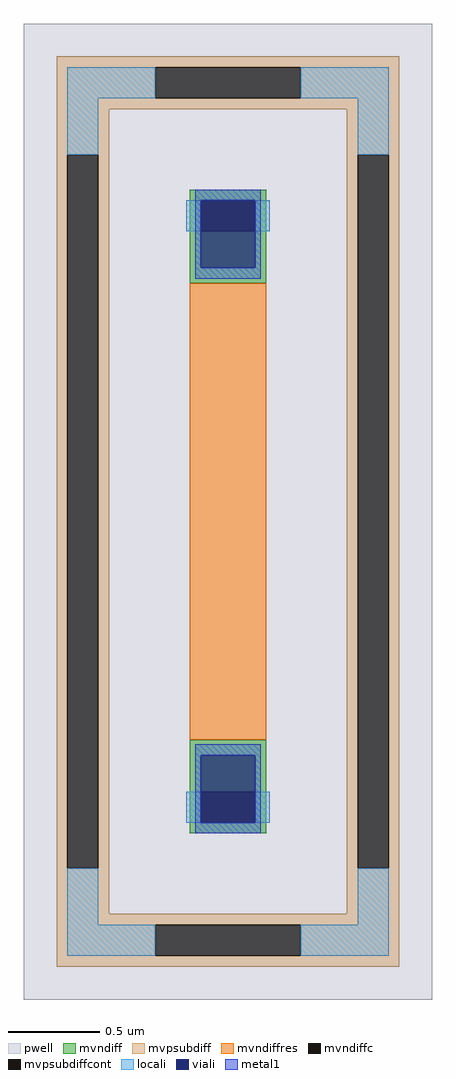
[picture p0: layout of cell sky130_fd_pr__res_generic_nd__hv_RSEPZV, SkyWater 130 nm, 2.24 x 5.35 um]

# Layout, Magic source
magic
tech sky130A
magscale 1 2
<< pwell >>
rect -224 -535 224 535
<< mvndiff >>
rect -42 341 42 353
rect -42 307 -30 341
rect 30 307 42 341
rect -42 250 42 307
rect -42 -307 42 -250
rect -42 -341 -30 -307
rect 30 -341 42 -307
rect -42 -353 42 -341
<< mvndiffc >>
rect -30 307 30 341
rect -30 -341 30 -307
<< mvpsubdiff >>
rect -188 487 188 499
rect -188 453 -80 487
rect 80 453 188 487
rect -188 441 188 453
rect -188 391 -130 441
rect -188 -391 -176 391
rect -142 -391 -130 391
rect 130 391 188 441
rect -188 -441 -130 -391
rect 130 -391 142 391
rect 176 -391 188 391
rect 130 -441 188 -391
rect -188 -453 188 -441
rect -188 -487 -80 -453
rect 80 -487 188 -453
rect -188 -499 188 -487
<< mvpsubdiffcont >>
rect -80 453 80 487
rect -176 -391 -142 391
rect 142 -391 176 391
rect -80 -487 80 -453
<< mvndiffres >>
rect -42 -250 42 250
<< locali >>
rect -176 453 -80 487
rect 80 453 176 487
rect -176 391 -142 453
rect 142 391 176 453
rect -46 307 -30 341
rect 30 307 46 341
rect -46 -341 -30 -307
rect 30 -341 46 -307
rect -176 -453 -142 -391
rect 142 -453 176 -391
rect -176 -487 -80 -453
rect 80 -487 176 -453
<< viali >>
rect -30 307 30 341
rect -30 267 30 307
rect -30 -307 30 -267
rect -30 -341 30 -307
<< metal1 >>
rect -36 341 36 353
rect -36 267 -30 341
rect 30 267 36 341
rect -36 255 36 267
rect -36 -267 36 -255
rect -36 -341 -30 -267
rect 30 -341 36 -267
rect -36 -353 36 -341
<< properties >>
string FIXED_BBOX -159 -470 159 470
string gencell sky130_fd_pr__res_generic_nd__hv
string library sky130
string parameters w 0.42 l 2.5 m 1 nx 1 wmin 0.42 lmin 2.10 rho 120 val 750.0 dummy 0 dw 0.02 term 0.0 sterm 0.0 caplen 0.4 snake 0 guard 1 glc 1 grc 1 gtc 1 gbc 1 roverlap 0 endcov 100 full_metal 1 vias 1 viagb 0 viagt 0 viagl 0 viagr 0
<< end >>
